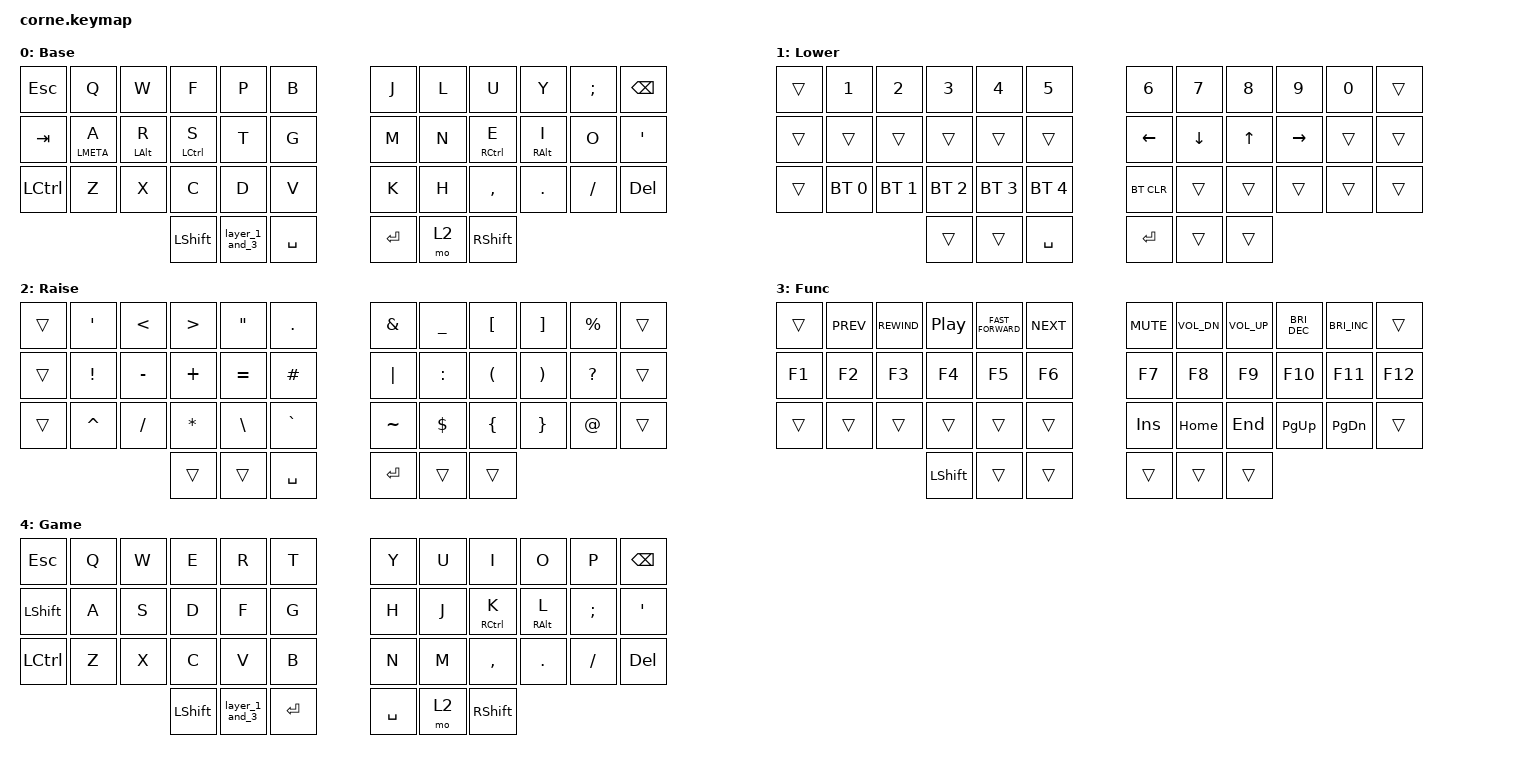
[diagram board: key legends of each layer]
/*
 * Copyright (c) 2020 The ZMK Contributors
 *
 * SPDX-License-Identifier: MIT
 */

#include <behaviors.dtsi>
#include <dt-bindings/zmk/bt.h>
#include <dt-bindings/zmk/keys.h>

/ {
    behaviors {
        hml: homerow_mods_left {
            compatible = "zmk,behavior-hold-tap";
            label = "HOMEROW_MODS_LEFT";
            bindings = <&kp>, <&kp>;

            #binding-cells = <2>;
            tapping-term-ms = <200>;
            hold-trigger-key-positions = <6 7 8 9 10 11 18 19 20 21 22 23 30 31 32 33 34 35 39 40 41>;
            flavor = "tap-preferred";
            retro-tap;
            quick-tap-ms = <200>;
        };

        hmr: homerow_mods_right {
            compatible = "zmk,behavior-hold-tap";
            label = "HOMEROW_MODS_RIGHT";
            bindings = <&kp>, <&kp>;

            #binding-cells = <2>;
            tapping-term-ms = <200>;
            hold-trigger-key-positions = <0 1 2 3 4 5 12 13 14 15 16 17 24 25 26 27 28 29 36 37 38>;
            flavor = "tap-preferred";
            retro-tap;
            quick-tap-ms = <200>;
        };

        layer_1_and_3: layer_1_and_3 {
            compatible = "zmk,behavior-tap-dance";
            label = "LAYER_1_AND_3";
            #binding-cells = <0>;
            bindings = <&mo 1>, <&mo 3>;

            tapping-term-ms = <400>;
        };

        hm_all: hm_all {
            compatible = "zmk,behavior-hold-tap";
            label = "HM_ALL";
            bindings = <&kp>, <&kp>;

            #binding-cells = <2>;
            tapping-term-ms = <250>;
            flavor = "tap-preferred";
        };
    };

    combos {
        compatible = "zmk,combos";

        toggle_gaming {
            bindings = <&tog 4>;
            key-positions = <37 40>;
        };
    };

    keymap {
        compatible = "zmk,keymap";

        default_layer {
            // -----------------------------------------------------------------------------------------
            // |  TAB |  Q  |  W  |  E  |  R  |  T  |   |  Y  |  U   |  I  |  O  |  P  | BKSP |
            // | SHFT |  A  |  S  |  D  |  F  |  G  |   |  H  |  J   |  K  |  L  |  ;  |  '   |
            // | CTRL |  Z  |  X  |  C  |  V  |  B  |   |  N  |  M   |  ,  |  .  |  /  | ESC  |
            //                    | GUI | LWR | SPC |   | ENT | RSE  | ALT |

            label = "Base";
            bindings = <
&kp ESCAPE  &kp Q            &kp W            &kp F         &kp P           &kp B        &kp J      &kp L  &kp U         &kp Y             &kp SEMICOLON  &kp BSPC
&kp TAB     &hm_all LMETA A  &hml LEFT_ALT R  &hml LCTRL S  &kp T           &kp G        &kp M      &kp N  &hmr RCTRL E  &hmr RIGHT_ALT I  &kp O          &kp SQT
&kp LCTRL   &kp Z            &kp X            &kp C         &kp D           &kp V        &kp K      &kp H  &kp COMMA     &kp DOT           &kp FSLH       &kp DEL
                                              &kp LSHFT     &layer_1_and_3  &kp SPACE    &kp ENTER  &mo 2  &kp RSHFT
            >;
        };

        lower_layer {
            // -----------------------------------------------------------------------------------------
            // |  TAB |  1  |  2  |  3  |  4  |  5  |   |  6  |  7  |  8  |  9  |  0  | DEL  |
            // | SHFT | BT1 | BT2 | BT3 | BT4 | BT5 |   | LFT | DWN |  UP | RGT | CAPS|      |
            // | CTRL |     |     |     |     |     |   |     |     |     |     |     | BTCLR|
            //                    | GUI |     | SPC |   | ENT |     | ALT |

            label = "Lower";
            bindings = <
&trans  &kp NUMBER_1  &kp NUMBER_2  &kp NUMBER_3  &kp NUMBER_4  &kp N5          &kp NUMBER_6    &kp N7          &kp NUMBER_8  &kp NUMBER_9     &kp NUMBER_0  &trans
&trans  &trans        &trans        &trans        &trans        &trans          &kp LEFT_ARROW  &kp DOWN_ARROW  &kp UP_ARROW  &kp RIGHT_ARROW  &trans        &trans
&trans  &bt BT_SEL 0  &bt BT_SEL 1  &bt BT_SEL 2  &bt BT_SEL 3  &bt BT_SEL 4    &bt BT_CLR      &trans          &trans        &trans           &trans        &trans
                                    &trans        &trans        &kp SPACE       &kp RET         &trans          &trans
            >;
        };

        raise_layer {
            // -----------------------------------------------------------------------------------------
            // |  TAB |  !  |  @  |  #  |  $  |  %  |   |  ^  |  &  |  *  |  (  |  )  | BKSP |
            // | SHFT |     |     |     |     |     |   |  -  |  =  |  [  |  ]  |  \  |  `   |
            // | CTRL |     |     |     |     |     |   |  _  |  +  |  {  |  }  | "|" |  ~   |
            //                    | GUI |     | SPC |   | ENT |     | ALT |

            label = "Raise";
            bindings = <
&trans  &kp SQT    &kp LESS_THAN  &kp GREATER_THAN  &kp DOUBLE_QUOTES  &kp PERIOD    &kp AMPERSAND  &kp UNDERSCORE  &kp LEFT_BRACKET      &kp RIGHT_BRACKET      &kp PERCENT   &trans
&trans  &kp EXCL   &kp MINUS      &kp PLUS          &kp EQUAL          &kp HASH      &kp PIPE       &kp COLON       &kp LEFT_PARENTHESIS  &kp RIGHT_PARENTHESIS  &kp QUESTION  &trans
&trans  &kp CARET  &kp SLASH      &kp ASTERISK      &kp BACKSLASH      &kp GRAVE     &kp TILDE      &kp DOLLAR      &kp LEFT_BRACE        &kp RIGHT_BRACE        &kp AT_SIGN   &trans
                                  &trans            &trans             &kp SPACE     &kp RET        &trans          &trans
            >;
        };

        Function_Layer {
            bindings = <
&trans  &kp C_PREV  &kp C_REWIND  &kp C_PLAY_PAUSE  &kp C_FAST_FORWARD  &kp C_NEXT    &kp C_MUTE  &kp C_VOL_DN  &kp C_VOL_UP  &kp C_BRI_DEC  &kp C_BRI_INC  &trans
&kp F1  &kp F2      &kp F3        &kp F4            &kp F5              &kp F6        &kp F7      &kp F8        &kp F9        &kp F10        &kp F11        &kp F12
&trans  &trans      &trans        &trans            &trans              &trans        &kp INSERT  &kp HOME      &kp END       &kp PAGE_UP    &kp PAGE_DOWN  &trans
                                  &kp LSHIFT        &trans              &trans        &trans      &trans        &trans
            >;

            label = "Func";
        };

        Game {
            label = "Game";
            bindings = <
&kp ESCAPE      &kp Q  &kp W  &kp E      &kp R           &kp T        &kp Y      &kp U  &kp I         &kp O             &kp P          &kp BSPC
&kp LEFT_SHIFT  &kp A  &kp S  &kp D      &kp F           &kp G        &kp H      &kp J  &hmr RCTRL K  &hmr RIGHT_ALT L  &kp SEMICOLON  &kp SQT
&kp LCTRL       &kp Z  &kp X  &kp C      &kp V           &kp B        &kp N      &kp M  &kp COMMA     &kp DOT           &kp FSLH       &kp DEL
                              &kp LSHFT  &layer_1_and_3  &kp ENTER    &kp SPACE  &mo 2  &kp RSHFT
            >;
        };
    };

    conditional_layers { compatible = "zmk,conditional-layers"; };
};
